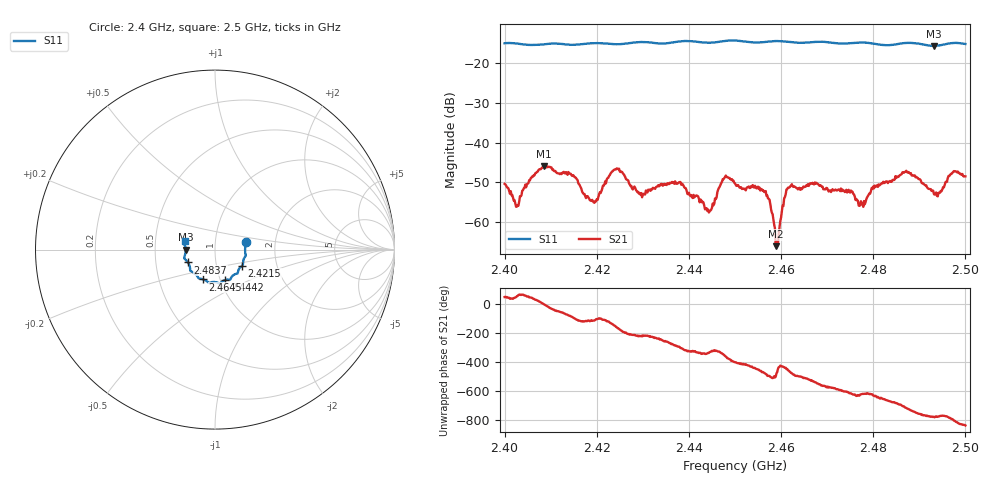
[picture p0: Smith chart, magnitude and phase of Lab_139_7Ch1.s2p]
# Hz S RI R 50
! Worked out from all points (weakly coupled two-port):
!   601 points, 2.4 GHz to 2.5 GHz, reference 50 ohm
!   highest |S21| = -45.96 dB at 2.4085 GHz (marker M1); lowest = -66.0 dB at 2.4588 GHz (marker M2)
!   lowest |S11| = -15.7 dB at 2.4932 GHz (marker M3), VSWR 1.39, Z = 36 - j0.0532 ohm
!   |S11| at or under -10 dB: start of sweep to end of sweep
!   S12 and S22 are empty: the file has one direction only
!   S11 on the Smith chart (normalised r, x): 2.4 GHz: 1.41, +0.12; 2.4215 GHz: 1.33, -0.25; 2.4442 GHz: 1.05, -0.37; 2.4645 GHz: 0.83, -0.29; 2.4837 GHz: 0.73, -0.11; 2.5 GHz: 0.71, +0.07
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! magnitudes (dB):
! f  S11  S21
! 2.4 GHz  -15.1  -50.3
! 2.4027 GHz  -15.1  -56.0
! 2.4085 GHz  -15.4  -46.0
! 2.4167 GHz  -15.3  -51.6
! 2.4197 GHz  -15.0  -54.7
! 2.4215 GHz  -15.1  -50.8
! 2.4243 GHz  -15.3  -46.5
! 2.4293 GHz  -14.8  -52.7
! 2.4333 GHz  -15.1  -50.7
! 2.4442 GHz  -15.0  -56.8
! 2.4477 GHz  -14.5  -48.9
! 2.45 GHz  -14.4  -50.2
! 2.4565 GHz  -14.8  -52.4
! 2.4588 GHz  -14.5  -66.0
! 2.4615 GHz  -14.7  -51.3
! 2.4645 GHz  -15.0  -51.7
! 2.4667 GHz  -14.8  -50.3
! 2.4773 GHz  -14.9  -54.7
! 2.4833 GHz  -15.6  -49.8
! 2.4837 GHz  -15.5  -49.6
! 2.4932 GHz  -15.7  -52.9
! 2.5 GHz  -15.3  -48.5
